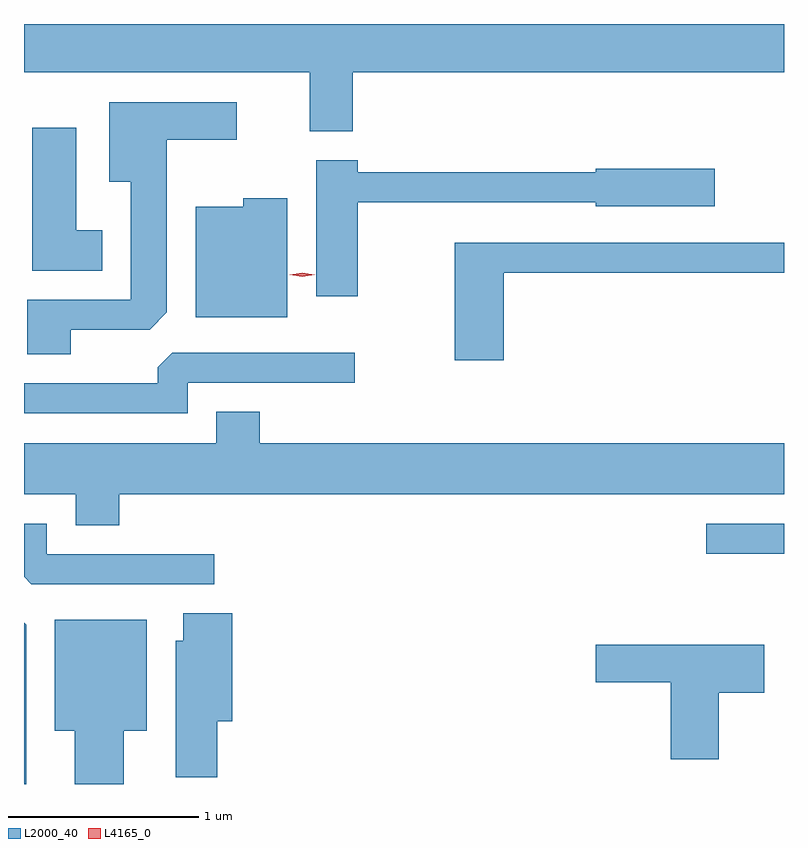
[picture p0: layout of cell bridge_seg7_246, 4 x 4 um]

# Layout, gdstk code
import gdstk
lib = gdstk.Library(unit=1e-6, precision=1e-09)
def R(c, l, rs):  # rectangles x0, y0, x1, y1
    for r in rs: c.add(gdstk.rectangle(r[:2], r[2:], *l))
def P(c, l, *ps):  # polygons
    for p in ps: c.add(gdstk.Polygon(p, *l))
L2000_40 = (2000, 40)
L4165_0 = (4165, 0)

bridge_seg7_246 = lib.new_cell('bridge_seg7_246')
R(bridge_seg7_246, L2000_40, [(1812.768,1694.021,1813.178,1694.179)])
P(bridge_seg7_246, L2000_40, [(1810.909,1696.556),(1813.178,1696.556),(1813.178,1696.81),(1809.178,1696.81),(1809.178,1696.556),(1810.681,1696.556),(1810.681,1696.246),(1810.909,1696.246)],
  [(1809.424,1695.201),(1809.839,1695.201),(1809.929,1695.292),(1809.929,1696.201),(1810.299,1696.201),(1810.299,1696.399),(1809.626,1696.399),(1809.626,1695.981),(1809.741,1695.981),(1809.741,1695.359),(1809.196,1695.359),(1809.196,1695.071),(1809.424,1695.071)],
  [(1809.589,1695.724),(1809.454,1695.724),(1809.454,1696.264),(1809.221,1696.264),(1809.221,1695.511),(1809.589,1695.511)],
  [(1810.934,1695.871),(1812.186,1695.871),(1812.186,1695.851),(1812.814,1695.851),(1812.814,1696.049),(1812.186,1696.049),(1812.186,1696.029),(1810.934,1696.029),(1810.934,1696.094),(1810.716,1696.094),(1810.716,1695.376),(1810.934,1695.376)],
  [(1810.564,1695.894),(1810.331,1695.894),(1810.331,1695.849),(1810.081,1695.849),(1810.081,1695.266),(1810.564,1695.266)],
  [(1811.704,1695.501),(1813.178,1695.501),(1813.178,1695.659),(1811.446,1695.659),(1811.446,1695.041),(1811.704,1695.041)],
  [(1810.039,1694.921),(1810.918,1694.921),(1810.918,1695.079),(1809.957,1695.079),(1809.881,1695.004),(1809.881,1694.919),(1809.178,1694.919),(1809.178,1694.761),(1810.039,1694.761)],
  [(1809.679,1694.336),(1813.178,1694.336),(1813.178,1694.604),(1810.419,1694.604),(1810.419,1694.769),(1810.191,1694.769),(1810.191,1694.604),(1809.178,1694.604),(1809.178,1694.336),(1809.451,1694.336),(1809.451,1694.171),(1809.679,1694.171)],
  [(1810.178,1694.019),(1809.299,1694.019),(1809.299,1694.179),(1809.178,1694.179),(1809.178,1693.9),(1809.217,1693.861),(1810.178,1693.861)],
  [(1810.194,1693.141),(1810.274,1693.141),(1810.274,1693.709),(1810.016,1693.709),(1810.016,1693.564),(1809.976,1693.564),(1809.976,1692.846),(1810.194,1692.846)],
  [(1809.704,1693.091),(1809.824,1693.091),(1809.824,1693.674),(1809.341,1693.674),(1809.341,1693.091),(1809.446,1693.091),(1809.446,1692.81),(1809.704,1692.81)],
  [(1809.189,1693.649),(1809.178,1693.66),(1809.178,1692.81),(1809.189,1692.81)],
  [(1812.834,1693.291),(1813.074,1693.291),(1813.074,1693.544),(1812.186,1693.544),(1812.186,1693.346),(1812.581,1693.346),(1812.581,1692.941),(1812.834,1692.941)])
P(bridge_seg7_246, L4165_0, [(1810.642,1695.48),(1810.576,1695.49),(1810.576,1695.49),(1810.576,1695.49),(1810.642,1695.5),(1810.708,1695.491),(1810.708,1695.491),(1810.708,1695.49)])

lib.write_gds('bridge_seg7_246.gds')
